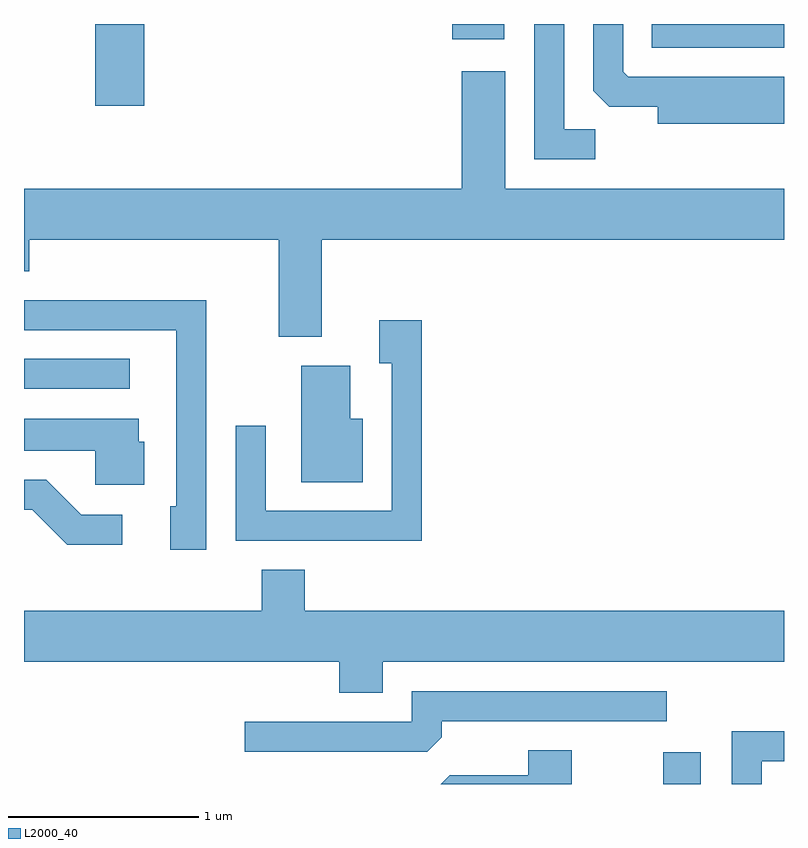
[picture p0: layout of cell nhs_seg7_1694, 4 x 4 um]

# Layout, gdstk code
import gdstk
lib = gdstk.Library(unit=1e-6, precision=1e-09)
def R(c, l, rs):  # rectangles x0, y0, x1, y1
    for r in rs: c.add(gdstk.rectangle(r[:2], r[2:], *l))
def P(c, l, *ps):  # polygons
    for p in ps: c.add(gdstk.Polygon(p, *l))
L2000_40 = (2000, 40)

nhs_seg7_1694 = lib.new_cell('nhs_seg7_1694')
R(nhs_seg7_1694, L2000_40, [(238.976,1800.252,239.174,1800.419), (235.611,1802.331,236.168,1802.489), (235.986,1803.821,236.244,1804.252), (238.916,1804.126,239.611,1804.252), (237.866,1804.171,238.139,1804.252)])
P(nhs_seg7_1694, L2000_40, [(239.611,1803.974),(238.792,1803.974),(238.764,1804.002),(238.764,1804.252),(238.606,1804.252),(238.606,1803.902),(238.692,1803.816),(238.946,1803.816),(238.946,1803.726),(239.611,1803.726)],
  [(238.618,1803.699),(238.454,1803.699),(238.454,1804.252),(238.296,1804.252),(238.296,1803.541),(238.618,1803.541)],
  [(235.611,1802.951),(235.639,1802.951),(235.639,1803.116),(236.951,1803.116),(236.951,1802.606),(237.179,1802.606),(237.179,1803.116),(239.611,1803.116),(239.611,1803.384),(238.144,1803.384),(238.144,1804.004),(237.916,1804.004),(237.916,1803.384),(235.611,1803.384)],
  [(236.569,1802.799),(235.611,1802.799),(235.611,1802.641),(236.411,1802.641),(236.411,1801.714),(236.381,1801.714),(236.381,1801.486),(236.569,1801.486)],
  [(237.704,1802.694),(237.481,1802.694),(237.481,1802.466),(237.546,1802.466),(237.546,1801.689),(236.884,1801.689),(236.884,1802.138),(236.726,1802.138),(236.726,1801.531),(237.704,1801.531)],
  [(237.394,1802.174),(237.329,1802.174),(237.329,1802.454),(237.071,1802.454),(237.071,1801.841),(237.394,1801.841)],
  [(236.244,1802.054),(236.214,1802.054),(236.214,1802.174),(235.611,1802.174),(235.611,1802.006),(235.986,1802.006),(235.986,1801.826),(236.244,1801.826)],
  [(236.128,1801.669),(235.912,1801.669),(235.727,1801.854),(235.611,1801.854),(235.611,1801.696),(235.654,1801.696),(235.839,1801.511),(236.128,1801.511)],
  [(237.499,1800.896),(239.611,1800.896),(239.611,1801.164),(237.089,1801.164),(237.089,1801.379),(236.861,1801.379),(236.861,1801.164),(235.611,1801.164),(235.611,1800.896),(237.271,1800.896),(237.271,1800.731),(237.499,1800.731)],
  [(237.809,1800.497),(237.809,1800.581),(238.993,1800.581),(238.993,1800.739),(237.651,1800.739),(237.651,1800.579),(236.773,1800.579),(236.773,1800.421),(237.734,1800.421)],
  [(239.494,1800.371),(239.611,1800.371),(239.611,1800.529),(239.336,1800.529),(239.336,1800.252),(239.494,1800.252)],
  [(238.494,1800.429),(238.266,1800.429),(238.266,1800.299),(237.852,1800.299),(237.804,1800.252),(238.494,1800.252)])

lib.write_gds('nhs_seg7_1694.gds')
